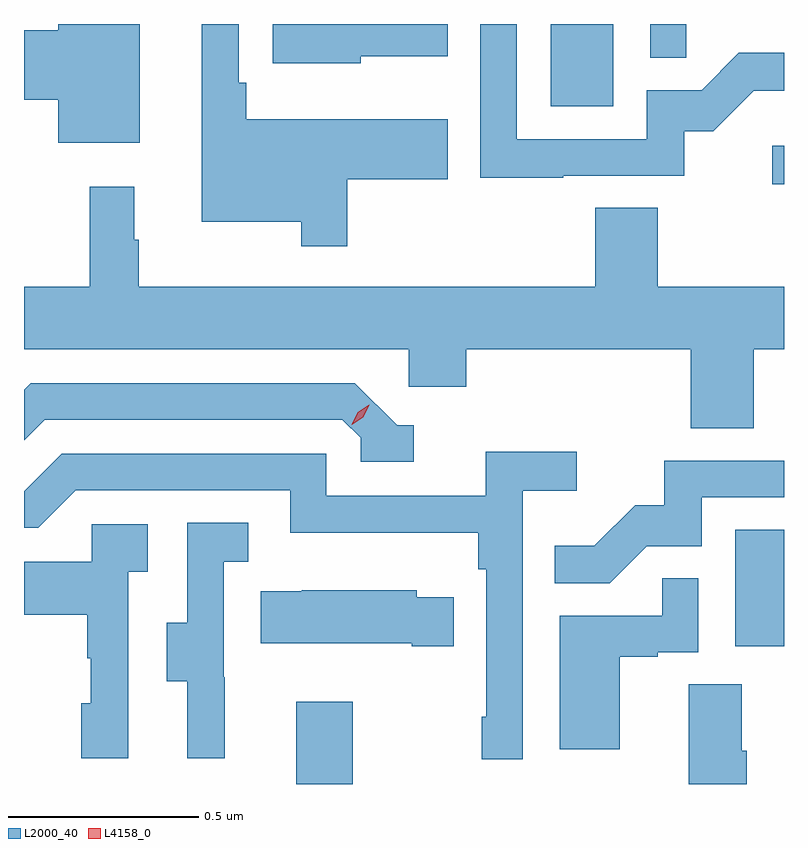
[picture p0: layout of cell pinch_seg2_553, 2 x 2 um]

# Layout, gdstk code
import gdstk
lib = gdstk.Library(unit=1e-6, precision=1e-09)
def R(c, l, rs):  # rectangles x0, y0, x1, y1
    for r in rs: c.add(gdstk.rectangle(r[:2], r[2:], *l))
def P(c, l, *ps):  # polygons
    for p in ps: c.add(gdstk.Polygon(p, *l))
L2000_40 = (2000, 40)
L4158_0 = (4158, 0)

pinch_seg2_553 = lib.new_cell('pinch_seg2_553')
R(pinch_seg2_553, L2000_40, [(1128.797,622.516,1128.945,622.732), (1129.952,622.878,1130.08,623.185), (1130.049,624.094,1130.08,624.196), (1129.466,624.3,1129.63,624.516), (1129.728,624.427,1129.823,624.516)])
P(pinch_seg2_553, L2000_40, [(1129.499,624.117),(1129.818,624.117),(1129.818,624.234),(1129.894,624.234),(1130.001,624.341),(1130.08,624.341),(1130.08,624.44),(1129.961,624.44),(1129.863,624.342),(1129.719,624.342),(1129.719,624.213),(1129.377,624.213),(1129.377,624.516),(1129.281,624.516),(1129.281,624.112),(1129.499,624.112)],
  [(1128.931,624.107),(1129.195,624.107),(1129.195,624.265),(1128.665,624.265),(1128.665,624.361),(1128.645,624.361),(1128.645,624.516),(1128.548,624.516),(1128.548,623.996),(1128.81,623.996),(1128.81,623.931),(1128.931,623.931)],
  [(1128.966,624.431),(1129.195,624.431),(1129.195,624.516),(1128.734,624.516),(1128.734,624.413),(1128.966,624.413)],
  [(1128.385,624.516),(1128.17,624.516),(1128.17,624.5),(1128.08,624.5),(1128.08,624.317),(1128.17,624.317),(1128.17,624.203),(1128.385,624.203)],
  [(1130,623.66),(1130.08,623.66),(1130.08,623.824),(1129.748,623.824),(1129.748,624.032),(1129.583,624.032),(1129.583,623.824),(1128.382,623.824),(1128.382,623.948),(1128.37,623.948),(1128.37,624.088),(1128.253,624.088),(1128.253,623.824),(1128.08,623.824),(1128.08,623.66),(1129.092,623.66),(1129.092,623.562),(1129.244,623.562),(1129.244,623.66),(1129.835,623.66),(1129.835,623.452),(1130,623.452)],
  [(1129.105,623.46),(1129.062,623.46),(1128.951,623.571),(1128.098,623.571),(1128.08,623.553),(1128.08,623.42),(1128.135,623.475),(1128.918,623.475),(1128.966,623.427),(1128.966,623.364),(1129.105,623.364)],
  [(1129.392,623.288),(1129.534,623.288),(1129.534,623.39),(1129.295,623.39),(1129.295,623.274),(1128.876,623.274),(1128.876,623.385),(1128.179,623.385),(1128.08,623.286),(1128.08,623.19),(1128.117,623.19),(1128.216,623.289),(1128.78,623.289),(1128.78,623.177),(1129.276,623.177),(1129.276,623.081),(1129.296,623.081),(1129.296,622.693),(1129.284,622.693),(1129.284,622.581),(1129.392,622.581)],
  [(1129.719,623.142),(1129.863,623.142),(1129.863,623.271),(1130.08,623.271),(1130.08,623.367),(1129.765,623.367),(1129.765,623.25),(1129.688,623.25),(1129.581,623.143),(1129.477,623.143),(1129.477,623.044),(1129.621,623.044)],
  [(1128.608,622.797),(1128.606,622.797),(1128.606,623.101),(1128.67,623.101),(1128.67,623.204),(1128.51,623.204),(1128.51,622.941),(1128.455,622.941),(1128.455,622.786),(1128.509,622.786),(1128.509,622.584),(1128.608,622.584)],
  [(1128.354,623.075),(1128.406,623.075),(1128.406,623.199),(1128.258,623.199),(1128.258,623.101),(1128.08,623.101),(1128.08,622.961),(1128.246,622.961),(1128.246,622.847),(1128.256,622.847),(1128.256,622.728),(1128.23,622.728),(1128.23,622.584),(1128.354,622.584)],
  [(1129.648,622.851),(1129.748,622.851),(1129.748,622.863),(1129.854,622.863),(1129.854,623.057),(1129.759,623.057),(1129.759,622.959),(1129.49,622.959),(1129.49,622.608),(1129.648,622.608)],
  [(1129.211,623.008),(1129.113,623.008),(1129.113,623.026),(1128.811,623.026),(1128.811,623.023),(1128.703,623.023),(1128.703,622.886),(1129.1,622.886),(1129.1,622.879),(1129.211,622.879)],
  [(1129.982,622.604),(1129.969,622.604),(1129.969,622.778),(1129.829,622.778),(1129.829,622.516),(1129.982,622.516)])
P(pinch_seg2_553, L4158_0, [(1128.942,623.461),(1128.942,623.461),(1128.958,623.494),(1128.988,623.514),(1128.988,623.514),(1128.988,623.514),(1128.973,623.481),(1128.942,623.461)])

lib.write_gds('pinch_seg2_553.gds')
